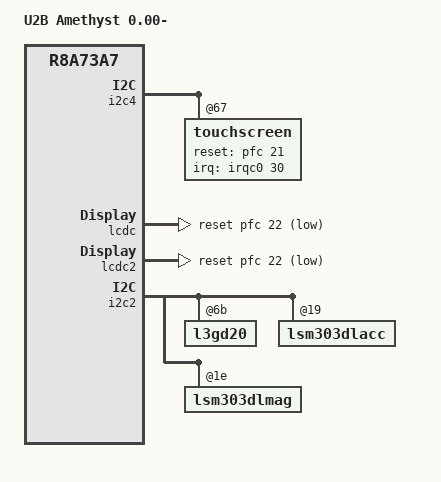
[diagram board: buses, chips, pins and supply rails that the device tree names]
/******************************************************************************/
/*                                                                            */
/* Copyright 2014 Broadcom Corporation                                        */
/*                                                                            */
/* Unless you and Broadcom execute a separate written software license        */
/* agreement governing use of this software, this software is licensed        */
/* to you under the terms of the GNU General Public License version 2         */
/* (the GPL), available at                                                    */
/*                                                                            */
/* http://www.broadcom.com/licenses/GPLv2.php                                 */
/*                                                                            */
/* with the following added to such license:                                  */
/*                                                                            */
/* As a special exception, the copyright holders of this software give        */
/* you permission to link this software with independent modules, and         */
/* to copy and distribute the resulting executable under terms of your        */
/* choice, provided that you also meet, for each linked independent           */
/* module, the terms and conditions of the license of that module.            */
/* An independent module is a module which is not derived from this           */
/* software. The special exception does not apply to any modifications        */
/* of the software.                                                           */
/*                                                                            */
/* Notwithstanding the above, under no circumstances may you combine          */
/* this software in any way with any other Broadcom software provided         */
/* under a license other than the GPL, without Broadcom's express             */
/* prior written consent.                                                     */
/*                                                                            */
/******************************************************************************/

/dts-v1/;
#include "r8a73a7.dtsi"
#include "amethyst-common.dtsi"

/{
	model = "U2B Amethyst 0.00-";
	compatible = "renesas,amethyst,r8a73a7", "renesas,amethyst", "renesas,r8a73a7";
};

&i2c4 {
	touchscreen@67 {
		interrupt-parent = <&irqc0>;
		interrupts = <30 IRQ_TYPE_EDGE_FALLING>;
		reset-gpios = <&pfc 21 GPIO_ACTIVE_HIGH>;
	};
};

&lcdc {
	reset-gpio = <&pfc 22 GPIO_ACTIVE_LOW>;
};

&lcdc2 {
	pname = "HX8389B_TRULY";
	reset-gpio = <&pfc 22 GPIO_ACTIVE_LOW>;
	te-irq = <&pfc 27 GPIO_ACTIVE_HIGH>;
	esd-irq = <&pfc 6 GPIO_ACTIVE_HIGH>;
};

&rt2 {
	screen0 {
		renesas,mode = <0>; /* video mode */
	};
};

&i2c2 {

	/* Gyroscope Sensor */
	l3gd20: l3gd20@6b {
		orientation = /bits/ 8 <0x01 0x00 0x00
					0x00 0x01 0x00
					0x00 0x00 0x01>;
	};

	/* Accelerometer sensor */
	lsm303dlacc: lsm303dlacc@19 {
		orientation = /bits/ 8 <0x00 0x1 0x00
					0xFF 0x00 0x00
					0x00 0x00 0xFF>;
        };

	/* Magnetometer Sensor */
	lsm303dlmag: lsm303dlmag@1e {
		orientation = /bits/ 8 <0x00 0x01 0x00
					0xFF 0x00 0x00
					0x00 0x00 0xFF>;
        };
};
